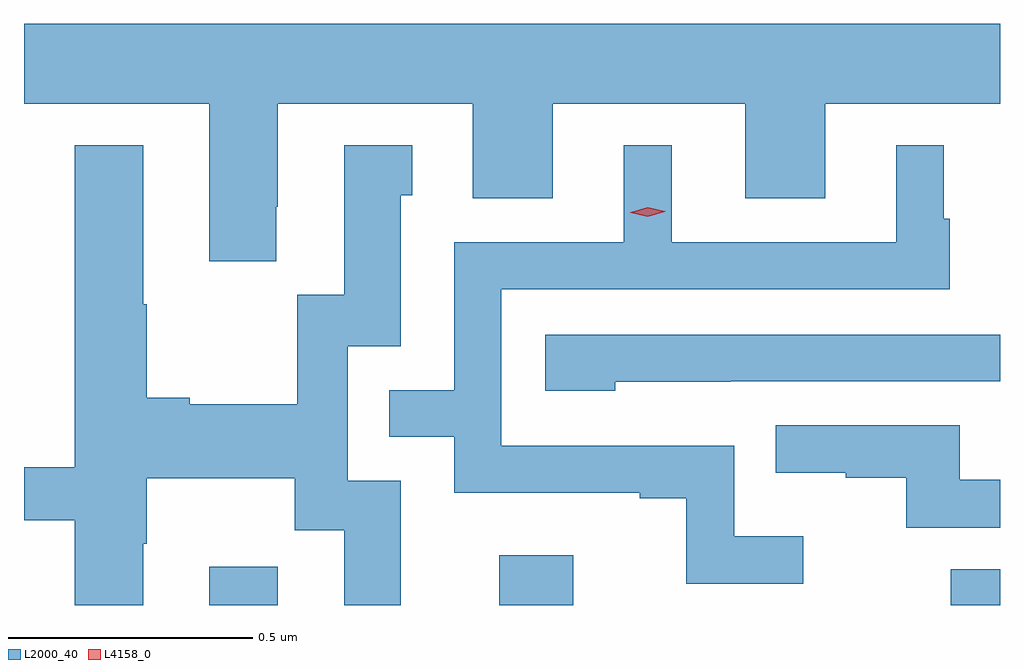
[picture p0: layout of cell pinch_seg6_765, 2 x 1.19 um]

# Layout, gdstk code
import gdstk
lib = gdstk.Library(unit=1e-6, precision=1e-09)
def R(c, l, rs):  # rectangles x0, y0, x1, y1
    for r in rs: c.add(gdstk.rectangle(r[:2], r[2:], *l))
def P(c, l, *ps):  # polygons
    for p in ps: c.add(gdstk.Polygon(p, *l))
L2000_40 = (2000, 40)
L4158_0 = (4158, 0)

pinch_seg6_765 = lib.new_cell('pinch_seg6_765')
R(pinch_seg6_765, L2000_40, [(562.421,944.976,562.561,945.055), (563.015,944.976,563.167,945.079), (563.94,944.976,564.041,945.05)])
P(pinch_seg6_765, L2000_40, [(562.558,945.793),(562.561,945.793),(562.561,946.004),(562.961,946.004),(562.961,945.81),(563.125,945.81),(563.125,946.004),(563.519,946.004),(563.519,945.81),(563.683,945.81),(563.683,946.004),(564.041,946.004),(564.041,946.168),(562.041,946.168),(562.041,946.004),(562.421,946.004),(562.421,945.681),(562.558,945.681)],
  [(563.638,945.118),(563.496,945.118),(563.496,945.303),(563.019,945.303),(563.019,945.624),(563.938,945.624),(563.938,945.768),(563.926,945.768),(563.926,945.919),(563.828,945.919),(563.828,945.72),(563.368,945.72),(563.368,945.919),(563.27,945.919),(563.27,945.72),(562.923,945.72),(562.923,945.417),(562.789,945.417),(562.789,945.321),(562.923,945.321),(562.923,945.207),(563.303,945.207),(563.303,945.195),(563.398,945.195),(563.398,945.02),(563.638,945.02)],
  [(562.285,945.102),(562.293,945.102),(562.293,945.236),(562.596,945.236),(562.596,945.13),(562.697,945.13),(562.697,944.976),(562.813,944.976),(562.813,945.231),(562.704,945.231),(562.704,945.507),(562.813,945.507),(562.813,945.816),(562.837,945.816),(562.837,945.919),(562.697,945.919),(562.697,945.612),(562.601,945.612),(562.601,945.388),(562.381,945.388),(562.381,945.401),(562.293,945.401),(562.293,945.593),(562.285,945.593),(562.285,945.919),(562.145,945.919),(562.145,945.259),(562.041,945.259),(562.041,945.15),(562.145,945.15),(562.145,944.976),(562.285,944.976)],
  [(563.253,945.434),(563.489,945.434),(563.489,945.435),(564.041,945.435),(564.041,945.531),(563.109,945.531),(563.109,945.416),(563.253,945.416)],
  [(564.041,945.233),(563.959,945.233),(563.959,945.345),(563.581,945.345),(563.581,945.248),(563.725,945.248),(563.725,945.237),(563.849,945.237),(563.849,945.135),(564.041,945.135)])
P(pinch_seg6_765, L4158_0, [(563.319,945.772),(563.284,945.781),(563.283,945.781),(563.284,945.782),(563.319,945.792),(563.354,945.784),(563.355,945.784),(563.354,945.783)])

lib.write_gds('pinch_seg6_765.gds')
